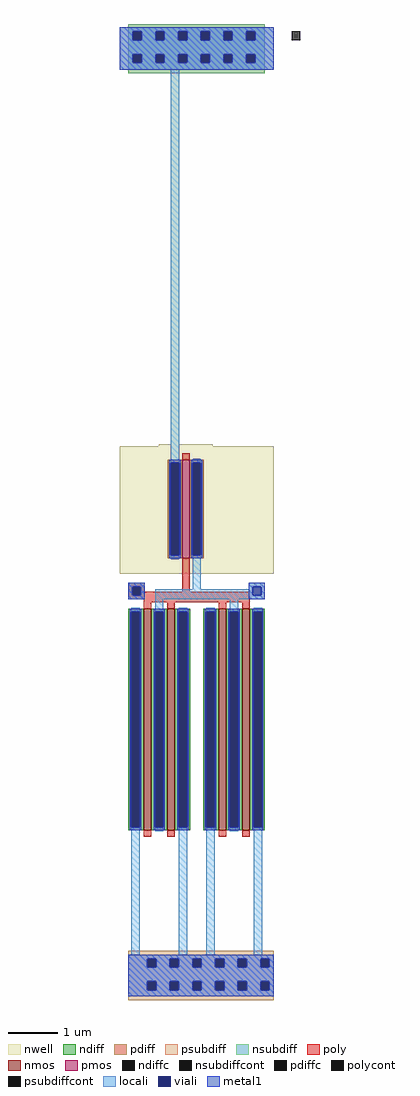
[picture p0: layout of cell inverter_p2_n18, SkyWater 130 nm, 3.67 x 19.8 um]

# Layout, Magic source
magic
tech sky130A
magscale 1 2
<< nwell >>
rect 0 3346 554 3360
rect -36 3174 590 3346
rect 0 3160 554 3174
rect 172 1646 206 3160
rect -36 1130 590 1646
<< psubdiff >>
rect 0 -432 590 -400
rect 0 -468 76 -432
rect 112 -468 168 -432
rect 204 -468 260 -432
rect 296 -468 352 -432
rect 388 -468 444 -432
rect 480 -468 536 -432
rect 572 -468 590 -432
rect 0 -524 590 -468
rect 0 -560 76 -524
rect 112 -560 168 -524
rect 204 -560 260 -524
rect 296 -560 352 -524
rect 388 -560 444 -524
rect 480 -560 536 -524
rect 572 -560 590 -524
rect 0 -600 590 -560
<< nsubdiff >>
rect 0 3330 554 3360
rect 0 3294 18 3330
rect 54 3294 110 3330
rect 146 3294 202 3330
rect 238 3294 294 3330
rect 330 3294 386 3330
rect 422 3294 478 3330
rect 514 3294 554 3330
rect 0 3238 554 3294
rect 0 3202 18 3238
rect 54 3202 110 3238
rect 146 3202 202 3238
rect 238 3202 294 3238
rect 330 3202 386 3238
rect 422 3202 478 3238
rect 514 3202 554 3238
rect 0 3160 554 3202
<< psubdiffcont >>
rect 76 -468 112 -432
rect 168 -468 204 -432
rect 260 -468 296 -432
rect 352 -468 388 -432
rect 444 -468 480 -432
rect 536 -468 572 -432
rect 76 -560 112 -524
rect 168 -560 204 -524
rect 260 -560 296 -524
rect 352 -560 388 -524
rect 444 -560 480 -524
rect 536 -560 572 -524
<< nsubdiffcont >>
rect 18 3294 54 3330
rect 110 3294 146 3330
rect 202 3294 238 3330
rect 294 3294 330 3330
rect 386 3294 422 3330
rect 478 3294 514 3330
rect 662 3294 698 3330
rect 18 3202 54 3238
rect 110 3202 146 3238
rect 202 3202 238 3238
rect 294 3202 330 3238
rect 386 3202 422 3238
rect 478 3202 514 3238
<< poly >>
rect 0 1076 66 1092
rect 0 1042 16 1076
rect 50 1056 66 1076
rect 218 1056 248 1166
rect 50 1044 492 1056
rect 50 1042 66 1044
rect 0 1026 66 1042
rect 188 1014 366 1044
<< polycont >>
rect 16 1042 50 1076
<< locali >>
rect -36 3330 590 3346
rect -36 3294 18 3330
rect 54 3294 110 3330
rect 146 3294 202 3330
rect 238 3294 294 3330
rect 330 3294 386 3330
rect 422 3294 478 3330
rect 514 3294 590 3330
rect -36 3238 590 3294
rect -36 3202 18 3238
rect 54 3202 110 3238
rect 146 3202 202 3238
rect 238 3202 294 3238
rect 330 3202 386 3238
rect 422 3202 478 3238
rect 514 3202 590 3238
rect -36 3174 590 3202
rect 172 1596 206 3174
rect 0 1076 66 1092
rect 0 1042 16 1076
rect 50 1042 66 1076
rect 260 1066 294 1188
rect 488 1076 554 1092
rect 488 1066 504 1076
rect 0 1026 66 1042
rect 108 1042 504 1066
rect 538 1042 554 1076
rect 108 1026 554 1042
rect 108 992 142 1026
rect 412 992 446 1026
rect 12 -416 46 84
rect 204 -416 238 84
rect 316 -416 350 84
rect 508 -416 542 84
rect 0 -432 590 -416
rect 0 -468 76 -432
rect 112 -468 168 -432
rect 204 -468 260 -432
rect 296 -468 352 -432
rect 388 -468 444 -432
rect 480 -468 536 -432
rect 572 -468 590 -432
rect 0 -524 590 -468
rect 0 -560 76 -524
rect 112 -560 168 -524
rect 204 -560 260 -524
rect 296 -560 352 -524
rect 388 -560 444 -524
rect 480 -560 536 -524
rect 572 -560 590 -524
rect 0 -584 590 -560
<< viali >>
rect 18 3294 54 3330
rect 110 3294 146 3330
rect 202 3294 238 3330
rect 294 3294 330 3330
rect 386 3294 422 3330
rect 478 3294 514 3330
rect 18 3202 54 3238
rect 110 3202 146 3238
rect 202 3202 238 3238
rect 294 3202 330 3238
rect 386 3202 422 3238
rect 478 3202 514 3238
rect 16 1042 50 1076
rect 504 1042 538 1076
rect 76 -468 112 -432
rect 168 -468 204 -432
rect 260 -468 296 -432
rect 352 -468 388 -432
rect 444 -468 480 -432
rect 536 -468 572 -432
rect 76 -560 112 -524
rect 168 -560 204 -524
rect 260 -560 296 -524
rect 352 -560 388 -524
rect 444 -560 480 -524
rect 536 -560 572 -524
<< metal1 >>
rect -36 3330 590 3346
rect -36 3294 18 3330
rect 54 3294 110 3330
rect 146 3294 202 3330
rect 238 3294 294 3330
rect 330 3294 386 3330
rect 422 3294 478 3330
rect 514 3294 590 3330
rect -36 3238 590 3294
rect -36 3202 18 3238
rect 54 3202 110 3238
rect 146 3202 202 3238
rect 238 3202 294 3238
rect 330 3202 386 3238
rect 422 3202 478 3238
rect 514 3202 590 3238
rect -36 3174 590 3202
rect 0 1076 66 1092
rect 0 1042 16 1076
rect 50 1042 66 1076
rect 0 1026 66 1042
rect 488 1076 554 1092
rect 488 1042 504 1076
rect 538 1042 554 1076
rect 488 1026 554 1042
rect 0 -432 590 -416
rect 0 -468 76 -432
rect 112 -468 168 -432
rect 204 -468 260 -432
rect 296 -468 352 -432
rect 388 -468 444 -432
rect 480 -468 536 -432
rect 572 -468 590 -432
rect 0 -524 590 -468
rect 0 -560 76 -524
rect 112 -560 168 -524
rect 204 -560 260 -524
rect 296 -560 352 -524
rect 388 -560 444 -524
rect 480 -560 536 -524
rect 572 -560 590 -524
rect 0 -584 590 -560
use sky130_fd_pr__nfet_01v8_QQ9VTX  sky130_fd_pr__nfet_01v8_QQ9VTX_0
transform 1 0 125 0 1 538
box -125 -476 125 506
use sky130_fd_pr__nfet_01v8_QQ9VTX  sky130_fd_pr__nfet_01v8_QQ9VTX_1
transform 1 0 429 0 1 538
box -125 -476 125 506
use sky130_fd_pr__pfet_01v8_UCB5V5  sky130_fd_pr__pfet_01v8_UCB5V5_0
transform 1 0 233 0 1 1392
box -109 -262 109 262
<< end >>

# cell sky130_fd_pr__nfet_01v8_QQ9VTX: kit device sky130_fd_pr__nfet_01v8, w 4.5 l 0.150 m 1 nf 2 diffcov 100 polycov 100 guard 0 glc 1 grc 1 gtc 1 gbc 1 tbcov 100 rlcov 100 topc 0 botc 0 poverlap 0 doverlap 1 lmin 0.15 wmin 0.42 class mosfet compatible {sky130_fd_pr__nfet_01v8 sky130_fd_pr__nfet_01v8_lvt sky130_fd_bs_flash__special_sonosfet_star sky130_fd_pr__nfet_g5v0d10v5 sky130_fd_pr__nfet_05v0_nvt sky130_fd_pr__nfet_03v3_nvt} full_metal 0 viasrc 100 viadrn 100 viagate 100 viagb 0 viagr 0 viagl 0 viagt 0

# cell sky130_fd_pr__pfet_01v8_UCB5V5: kit device sky130_fd_pr__pfet_01v8, w 2 l 0.15 m 1 nf 1 diffcov 100 polycov 100 guard 0 glc 1 grc 1 gtc 1 gbc 1 tbcov 100 rlcov 100 topc 0 botc 0 poverlap 0 doverlap 1 lmin 0.15 wmin 0.42 class mosfet compatible {sky130_fd_pr__pfet_01v8 sky130_fd_pr__pfet_01v8_lvt sky130_fd_pr__pfet_01v8_hvt sky130_fd_pr__pfet_g5v0d10v5} full_metal 0 viasrc 100 viadrn 100 viagate 100 viagb 0 viagr 0 viagl 0 viagt 0
